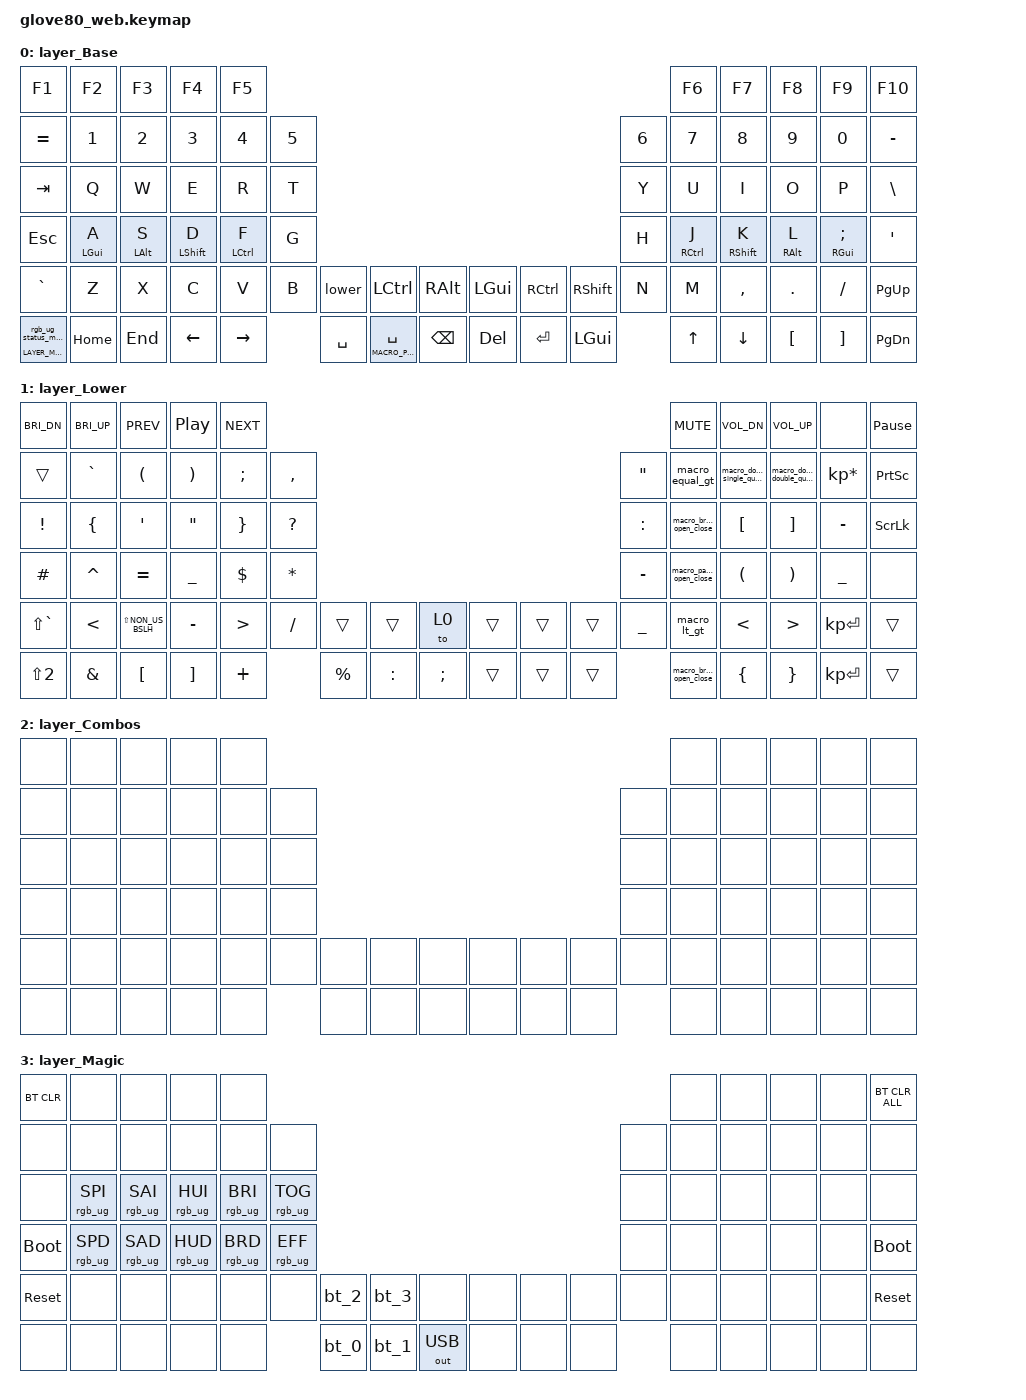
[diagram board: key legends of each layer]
/*
 * Copyright (c) 2020 The ZMK Contributors
 * Copyright (c) 2025 Innaworks Development Limited, trading as MoErgo
 *
 * SPDX-License-Identifier: MIT
 */


/* THIS FILE WAS GENERATED BY GLOVE80 LAYOUT EDITOR
 *
 * This file was generated automatically. You may or may not want to
 * edit it directly.
 */

#include <behaviors.dtsi>
/* Include all behavior includes needed */
#include <dt-bindings/zmk/outputs.h>
#include <dt-bindings/zmk/keys.h>
#include <dt-bindings/zmk/bt.h>
#include <dt-bindings/zmk/rgb.h>

/* On demand includes */


/* Helper Macros, based on https://github.com/urob/zmk-helpers/ */

#pragma once

#define ZMK_HELPER_STRINGIFY(x) #x

// Preprocessor mechanism to overload macros, cf. https://stackoverflow.com/a/27051616/6114651
#define VARGS_(_10, _9, _8, _7, _6, _5, _4, _3, _2, _1, N, ...) N
#define VARGS(...) VARGS_(__VA_ARGS__, 10, 9, 8, 7, 6, 5, 4, 3, 2, 1, 0)
#define CONCAT_(a, b) a##b
#define CONCAT(a, b) CONCAT_(a, b)

#define ZMK_BEHAVIOR_CORE_tap_dance  \
    compatible = "zmk,behavior-tap-dance"; \
    #binding-cells = <0>

#define ZMK_BEHAVIOR(name, type, ...) \
    name: name { \
        ZMK_BEHAVIOR_CORE_ ## type; \
        __VA_ARGS__ \
    };

#define ZMK_TAP_DANCE(name, ...) \
    ZMK_BEHAVIOR(name, tap_dance, __VA_ARGS__)

#define ZMK_TD_LAYER(name, layer) \
    ZMK_TAP_DANCE(name, \
        tapping-term-ms = <200>; \
        bindings = <&mo layer>, <&to layer>; \
)

/* Automatically generated layer name #define */
#define LAYER_Base 0
#define LAYER_Lower 1
#define LAYER_Combos 2
#define LAYER_Magic 3

/* To deal with the situation where there is no Lower layer, to keep &lower happy */
#ifndef LAYER_Lower
#define LAYER_Lower 0
#endif

/* Custom Device-tree */


/* Input Listeners */


/* System behavior and Macros */
/ {
    behaviors {
        ZMK_TD_LAYER(lower, LAYER_Lower)
    };
};

/ {
    macros {
        rgb_ug_status_macro: rgb_ug_status_macro {
            label = "RGB_UG_STATUS";
            compatible = "zmk,behavior-macro";
            #binding-cells = <0>;
            bindings
                = <&rgb_ug RGB_STATUS>;
        };
    };
};


/ {
#ifdef BT_DISC_CMD
    behaviors {
        bt_0: bt_0 {
            compatible = "zmk,behavior-tap-dance";
            label = "BT_0";
            #binding-cells = <0>;
            tapping-term-ms = <200>;
            bindings = <&bt_select_0>, <&bt BT_DISC 0>;
        };
        bt_1: bt_1 {
            compatible = "zmk,behavior-tap-dance";
            label = "BT_1";
            #binding-cells = <0>;
            tapping-term-ms = <200>;
            bindings = <&bt_select_1>, <&bt BT_DISC 1>;
        };
        bt_2: bt_2 {
            compatible = "zmk,behavior-tap-dance";
            label = "BT_2";
            #binding-cells = <0>;
            tapping-term-ms = <200>;
            bindings = <&bt_select_2>, <&bt BT_DISC 2>;
        };
        bt_3: bt_3 {
            compatible = "zmk,behavior-tap-dance";
            label = "BT_3";
            #binding-cells = <0>;
            tapping-term-ms = <200>;
            bindings = <&bt_select_3>, <&bt BT_DISC 3>;
        };
    };
    macros {
        bt_select_0: bt_select_0 {
            label = "BT_SELECT_0";
            compatible = "zmk,behavior-macro";
            #binding-cells = <0>;
            bindings
                = <&out OUT_BLE>,
                  <&bt BT_SEL 0>;
        };
        bt_select_1: bt_select_1 {
            label = "BT_SELECT_1";
            compatible = "zmk,behavior-macro";
            #binding-cells = <0>;
            bindings
                = <&out OUT_BLE>,
                  <&bt BT_SEL 1>;
        };
        bt_select_2: bt_select_2 {
            label = "BT_SELECT_2";
            compatible = "zmk,behavior-macro";
            #binding-cells = <0>;
            bindings
                = <&out OUT_BLE>,
                  <&bt BT_SEL 2>;
        };
        bt_select_3: bt_select_3 {
            label = "BT_SELECT_3";
            compatible = "zmk,behavior-macro";
            #binding-cells = <0>;
            bindings
                = <&out OUT_BLE>,
                  <&bt BT_SEL 3>;
        };
    };
#else
    macros {
        bt_0: bt_0 {
            label = "BT_0";
            compatible = "zmk,behavior-macro";
            #binding-cells = <0>;
            bindings
                = <&out OUT_BLE>,
                  <&bt BT_SEL 0>;
        };
        bt_1: bt_1 {
            label = "BT_1";
            compatible = "zmk,behavior-macro";
            #binding-cells = <0>;
            bindings
                = <&out OUT_BLE>,
                  <&bt BT_SEL 1>;
        };
        bt_2: bt_2 {
            label = "BT_2";
            compatible = "zmk,behavior-macro";
            #binding-cells = <0>;
            bindings
                = <&out OUT_BLE>,
                  <&bt BT_SEL 2>;
        };
        bt_3: bt_3 {
            label = "BT_3";
            compatible = "zmk,behavior-macro";
            #binding-cells = <0>;
            bindings
                = <&out OUT_BLE>,
                  <&bt BT_SEL 3>;
        };
    };
#endif
};

/ {
    behaviors {
        magic: magic {
            compatible = "zmk,behavior-hold-tap";
            label = "MAGIC_HOLD_TAP";
            #binding-cells = <2>;
            flavor = "tap-preferred";
            tapping-term-ms = <200>;
            bindings = <&mo>, <&rgb_ug_status_macro>;
        };
    };
};

/* #define for key positions */
#define POS_LH_T1 52
#define POS_LH_T2 53
#define POS_LH_T3 54
#define POS_LH_T4 69
#define POS_LH_T5 70
#define POS_LH_T6 71
#define POS_LH_C1R2 15
#define POS_LH_C1R3 27
#define POS_LH_C1R4 39
#define POS_LH_C1R5 51
#define POS_LH_C2R1 4
#define POS_LH_C2R2 14
#define POS_LH_C2R3 26
#define POS_LH_C2R4 38
#define POS_LH_C2R5 50
#define POS_LH_C2R6 68
#define POS_LH_C3R1 3
#define POS_LH_C3R2 13
#define POS_LH_C3R3 25
#define POS_LH_C3R4 37
#define POS_LH_C3R5 49
#define POS_LH_C3R6 67
#define POS_LH_C4R1 2
#define POS_LH_C4R2 12
#define POS_LH_C4R3 24
#define POS_LH_C4R4 36
#define POS_LH_C4R5 48
#define POS_LH_C4R6 66
#define POS_LH_C5R1 1
#define POS_LH_C5R2 11
#define POS_LH_C5R3 23
#define POS_LH_C5R4 35
#define POS_LH_C5R5 47
#define POS_LH_C5R6 65
#define POS_LH_C6R1 0
#define POS_LH_C6R2 10
#define POS_LH_C6R3 22
#define POS_LH_C6R4 34
#define POS_LH_C6R5 46
#define POS_LH_C6R6 64
#define POS_RH_T1 57
#define POS_RH_T2 56
#define POS_RH_T3 55
#define POS_RH_T4 74
#define POS_RH_T5 73
#define POS_RH_T6 72
#define POS_RH_C1R2 16
#define POS_RH_C1R3 28
#define POS_RH_C1R4 40
#define POS_RH_C1R5 58
#define POS_RH_C2R1 5
#define POS_RH_C2R2 17
#define POS_RH_C2R3 29
#define POS_RH_C2R4 41
#define POS_RH_C2R5 59
#define POS_RH_C2R6 75
#define POS_RH_C3R1 6
#define POS_RH_C3R2 18
#define POS_RH_C3R3 30
#define POS_RH_C3R4 42
#define POS_RH_C3R5 60
#define POS_RH_C3R6 76
#define POS_RH_C4R1 7
#define POS_RH_C4R2 19
#define POS_RH_C4R3 31
#define POS_RH_C4R4 43
#define POS_RH_C4R5 61
#define POS_RH_C4R6 77
#define POS_RH_C5R1 8
#define POS_RH_C5R2 20
#define POS_RH_C5R3 32
#define POS_RH_C5R4 44
#define POS_RH_C5R5 62
#define POS_RH_C5R6 78
#define POS_RH_C6R1 9
#define POS_RH_C6R2 21
#define POS_RH_C6R3 33
#define POS_RH_C6R4 45
#define POS_RH_C6R5 63
#define POS_RH_C6R6 79

/* Custom Defined Behaviors */
/ {

};

/* Automatically generated macro definitions */
/ {
    macros {

        macro_parenthesis_open_close: macro_parenthesis_open_close {
            label = "&MACRO_PARENTHESIS_OPEN_CLOSE";
            compatible = "zmk,behavior-macro";
            #binding-cells = <0>;
            bindings = <&macro_tap>
                , <&kp LPAR>
                , <&kp RPAR>
                , <&kp LEFT>;
        };

        macro_brace_open_close: macro_brace_open_close {
            label = "&MACRO_BRACE_OPEN_CLOSE";
            compatible = "zmk,behavior-macro";
            #binding-cells = <0>;
            bindings = <&macro_tap>
                , <&kp LBRC>
                , <&kp RBRC>
                , <&kp LEFT>;
        };

        macro_bracket_open_close: macro_bracket_open_close {
            label = "&MACRO_BRACKET_OPEN_CLOSE";
            compatible = "zmk,behavior-macro";
            #binding-cells = <0>;
            bindings = <&macro_tap>
                , <&kp LBKT>
                , <&kp RBKT>
                , <&kp LEFT>;
        };

        macro_lt_gt: macro_lt_gt {
            label = "&MACRO_LT_GT";
            compatible = "zmk,behavior-macro";
            #binding-cells = <0>;
            bindings = <&macro_tap>
                , <&kp LT>
                , <&kp GT>
                , <&kp LEFT>;
        };

        macro_super_alt_b: macro_super_alt_b {
            label = "&MACRO_SUPER_ALT_B";
            compatible = "zmk,behavior-macro";
            #binding-cells = <0>;
            bindings = <&macro_press>
                , <&kp LGUI>
                , <&kp LALT>
                , <&macro_press>
                , <&kp B>
                , <&macro_release>
                , <&kp LGUI>
                , <&kp LALT>;
        };

        macro_equal_gt: macro_equal_gt {
            label = "&MACRO_EQUAL_GT";
            compatible = "zmk,behavior-macro";
            #binding-cells = <0>;
            bindings = <&macro_tap>
                , <&kp EQUAL>
                , <&kp GT>;
        };

        macro_double_single_quotes: macro_double_single_quotes {
            label = "&MACRO_DOUBLE_SINGLE_QUOTES";
            compatible = "zmk,behavior-macro";
            #binding-cells = <0>;
            bindings = <&macro_tap>
                , <&kp SQT>
                , <&kp SQT>
                , <&kp LEFT>;
        };

        macro_double_double_quotes: macro_double_double_quotes {
            label = "&MACRO_DOUBLE_DOUBLE_QUOTES";
            compatible = "zmk,behavior-macro";
            #binding-cells = <0>;
            bindings = <&macro_tap>
                , <&kp DQT>
                , <&kp DQT>
                , <&kp LEFT>;
        };
    };
};

/* Automatically generated behavior definitions */
/ {
    behaviors {


        hmk_left_pinky: hmk_left_pinky {
            compatible = "zmk,behavior-hold-tap";
            #binding-cells = <2>;
            tapping-term-ms = <260>;
            bindings = <&kp>, <&kp>;
            flavor = "balanced";
            quick-tap-ms = <300>;
            require-prior-idle-ms = <150>;
            hold-while-undecided;
            hold-trigger-key-positions = <52 53 54 69 70 71 55 56 57 74 72 73 58 40 28 16 5 6 7 19 18 17 29 41 59 75 76 77 61 60 42 43 31 30 8 9 21 20 32 44 62 78 79 63 45 33>;
            hold-trigger-on-release;
        };

        hmk_right_pinky: hmk_right_pinky {
            compatible = "zmk,behavior-hold-tap";
            #binding-cells = <2>;
            tapping-term-ms = <260>;
            bindings = <&kp>, <&kp>;
            flavor = "balanced";
            quick-tap-ms = <300>;
            require-prior-idle-ms = <150>;
            hold-while-undecided;
            hold-trigger-key-positions = <54 53 52 69 70 71 68 67 66 65 64 47 46 34 22 1 10 0 2 3 4 15 27 39 51 50 48 49 35 11 12 14 38 37 36 23 24 25 26 13>;
            hold-trigger-on-release;
        };

        hmk_right_ring: hmk_right_ring {
            compatible = "zmk,behavior-hold-tap";
            #binding-cells = <2>;
            tapping-term-ms = <260>;
            bindings = <&kp>, <&kp>;
            flavor = "balanced";
            quick-tap-ms = <300>;
            require-prior-idle-ms = <150>;
            hold-while-undecided;
            hold-trigger-key-positions = <54 53 52 69 70 71 68 67 66 65 64 47 46 34 22 1 10 0 2 3 4 15 27 39 51 50 48 49 35 11 12 14 38 37 36 23 24 25 26 13>;
        };

        hmk_left_ring: hmk_left_ring {
            compatible = "zmk,behavior-hold-tap";
            #binding-cells = <2>;
            tapping-term-ms = <260>;
            bindings = <&kp>, <&kp>;
            flavor = "balanced";
            quick-tap-ms = <300>;
            require-prior-idle-ms = <150>;
            hold-while-undecided;
            hold-trigger-key-positions = <52 53 54 69 70 71 55 56 57 74 72 73 58 40 28 16 5 6 7 19 18 17 29 41 59 75 76 77 61 60 42 43 31 30 8 9 21 20 32 44 62 78 79 63 45 33>;
        };

        hmk_left_middle: hmk_left_middle {
            compatible = "zmk,behavior-hold-tap";
            #binding-cells = <2>;
            tapping-term-ms = <260>;
            bindings = <&kp>, <&kp>;
            flavor = "balanced";
            quick-tap-ms = <300>;
            require-prior-idle-ms = <150>;
            hold-while-undecided;
            hold-trigger-key-positions = <52 53 54 69 70 71 55 56 57 74 72 73 58 40 28 16 5 6 7 19 18 17 29 41 59 75 76 77 61 60 42 43 31 30 8 9 21 20 32 44 62 78 79 63 45 33>;
        };

        hmk_right_middle: hmk_right_middle {
            compatible = "zmk,behavior-hold-tap";
            #binding-cells = <2>;
            tapping-term-ms = <260>;
            bindings = <&kp>, <&kp>;
            flavor = "balanced";
            quick-tap-ms = <300>;
            require-prior-idle-ms = <150>;
            hold-while-undecided;
            hold-trigger-key-positions = <54 53 52 69 70 71 68 67 66 65 64 47 46 34 22 1 10 0 2 3 4 15 27 39 51 50 48 49 35 11 12 14 38 37 36 23 24 25 26 13>;
        };

        hmk_right_index: hmk_right_index {
            compatible = "zmk,behavior-hold-tap";
            #binding-cells = <2>;
            tapping-term-ms = <260>;
            bindings = <&kp>, <&kp>;
            flavor = "balanced";
            quick-tap-ms = <300>;
            require-prior-idle-ms = <150>;
            hold-while-undecided;
            hold-trigger-key-positions = <54 53 52 69 70 71 68 67 66 65 64 47 46 34 22 1 10 0 2 3 4 15 27 39 51 50 48 49 35 11 12 14 38 37 36 23 24 25 26 13>;
        };

        hmk_left_index: hmk_left_index {
            compatible = "zmk,behavior-hold-tap";
            #binding-cells = <2>;
            tapping-term-ms = <260>;
            bindings = <&kp>, <&kp>;
            flavor = "balanced";
            quick-tap-ms = <300>;
            require-prior-idle-ms = <150>;
            hold-while-undecided;
            hold-trigger-key-positions = <52 53 54 69 70 71 55 56 57 74 72 73 58 40 28 16 5 6 7 19 18 17 29 41 59 75 76 77 61 60 42 43 31 30 8 9 21 20 32 44 62 78 79 63 45 33>;
        };

        hmk_left_thumb_middle_inner: hmk_left_thumb_middle_inner {
            compatible = "zmk,behavior-hold-tap";
            #binding-cells = <2>;
            tapping-term-ms = <260>;
            bindings = <&lower>, <&kp>;
            flavor = "balanced";
            quick-tap-ms = <300>;
            require-prior-idle-ms = <150>;
            hold-while-undecided;
            hold-trigger-key-positions = <58 40 28 16 5 6 7 19 18 17 29 41 59 75 76 77 61 60 42 43 31 30 8 9 21 20 32 44 62 78 79 63 45 33 4 3 2 1 0 22 34 46 10 11 23 47 65 64 66 67 68 50 51 39 27 15 14 26 38 49 35 48 36 37 25 24 12 13>;
        };
    };
};

/* Automatically generated combos definitions */


/* Automatically generated keymap */
/ {
    keymap {
        compatible = "zmk,keymap";


        layer_Base {
            bindings = <
               &kp F1                  &kp F2                 &kp F3                    &kp F4                   &kp F5                                                                                                                                               &kp F6                     &kp F7                  &kp F8                      &kp F9    &kp F10
            &kp EQUAL                  &kp N1                 &kp N2                    &kp N3                   &kp N4  &kp N5                                                                                                             &kp N6                    &kp N7                     &kp N8                  &kp N9                      &kp N0  &kp MINUS
              &kp TAB                   &kp Q                  &kp W                     &kp E                    &kp R   &kp T                                                                                                              &kp Y                     &kp U                      &kp I                   &kp O                       &kp P   &kp BSLH
              &kp ESC  &hmk_left_pinky LGUI A  &hmk_left_ring LALT S  &hmk_left_middle LSHFT D  &hmk_left_index LCTRL F   &kp G                                                                                                              &kp H  &hmk_right_index RCTRL J  &hmk_right_middle RSHFT K  &hmk_right_ring RALT L  &hmk_right_pinky RGUI SEMI    &kp SQT
            &kp GRAVE                   &kp Z                  &kp X                     &kp C                    &kp V   &kp B     &lower                                             &kp LCTRL  &kp RALT  &kp LGUI  &kp RCTRL  &kp RSHFT   &kp N                     &kp M                  &kp COMMA                 &kp DOT                    &kp FSLH  &kp PG_UP
 &magic LAYER_Magic 0                &kp HOME                &kp END                  &kp LEFT                &kp RIGHT          &kp SPACE  &hmk_left_thumb_middle_inner MACRO_PLACEHOLDER SPACE  &kp BSPC   &kp DEL    &kp RET   &kp LGUI                            &kp UP                   &kp DOWN                &kp LBKT                    &kp RBKT  &kp PG_DN
            >;
        };

        layer_Lower {
            bindings = <
  &kp C_BRI_DN  &kp C_BRI_UP           &kp C_PREV   &kp C_PP  &kp C_NEXT                                                                                                   &kp C_MUTE                 &kp C_VOL_DN                 &kp C_VOL_UP            &none  &kp PAUSE_BREAK
        &trans     &kp GRAVE             &kp LPAR   &kp RPAR    &kp SEMI  &kp COMMA                                                            &kp DQT                &macro_equal_gt  &macro_double_single_quotes  &macro_double_double_quotes  &kp KP_MULTIPLY  &kp PRINTSCREEN
      &kp EXCL      &kp LBRC              &kp SQT    &kp DQT    &kp RBRC  &kp QMARK                                                          &kp COLON      &macro_bracket_open_close                     &kp LBKT                     &kp RBKT        &kp MINUS   &kp SCROLLLOCK
      &kp HASH     &kp CARET            &kp EQUAL  &kp UNDER    &kp DLLR   &kp STAR                                                          &kp MINUS  &macro_parenthesis_open_close                     &kp LPAR                     &kp RPAR        &kp UNDER            &none
 &kp LS(GRAVE)        &kp LT  &kp LS(NON_US_BSLH)  &kp MINUS      &kp GT   &kp FSLH     &trans     &trans     &to 0  &trans  &trans  &trans  &kp UNDER                   &macro_lt_gt                       &kp LT                       &kp GT     &kp KP_ENTER           &trans
    &kp LS(N2)      &kp AMPS             &kp LBKT   &kp RBKT    &kp PLUS             &kp PRCNT  &kp COLON  &kp SEMI  &trans  &trans  &trans                   &macro_brace_open_close                     &kp LBRC                     &kp RBRC     &kp KP_ENTER           &trans
            >;
        };

        layer_Combos {
            bindings = <
  &none   &none   &none   &none   &none                                                                   &none   &none   &none   &none   &none
  &none   &none   &none   &none   &none   &none                                                   &none   &none   &none   &none   &none   &none
  &none   &none   &none   &none   &none   &none                                                   &none   &none   &none   &none   &none   &none
  &none   &none   &none   &none   &none   &none                                                   &none   &none   &none   &none   &none   &none
  &none   &none   &none   &none   &none   &none   &none   &none   &none   &none   &none   &none   &none   &none   &none   &none   &none   &none
  &none   &none   &none   &none   &none           &none   &none   &none   &none   &none   &none           &none   &none   &none   &none   &none
            >;
        };

        layer_Magic {
            bindings = <
  &bt BT_CLR            &none            &none            &none            &none                                                                                  &none   &none   &none   &none  &bt BT_CLR_ALL
       &none            &none            &none            &none            &none            &none                                                         &none   &none   &none   &none   &none           &none
       &none  &rgb_ug RGB_SPI  &rgb_ug RGB_SAI  &rgb_ug RGB_HUI  &rgb_ug RGB_BRI  &rgb_ug RGB_TOG                                                         &none   &none   &none   &none   &none           &none
 &bootloader  &rgb_ug RGB_SPD  &rgb_ug RGB_SAD  &rgb_ug RGB_HUD  &rgb_ug RGB_BRD  &rgb_ug RGB_EFF                                                         &none   &none   &none   &none   &none     &bootloader
  &sys_reset            &none            &none            &none            &none            &none   &bt_2   &bt_3         &none   &none   &none   &none   &none   &none   &none   &none   &none      &sys_reset
       &none            &none            &none            &none            &none                    &bt_0   &bt_1  &out OUT_USB   &none   &none   &none           &none   &none   &none   &none           &none
            >;
        };

    };
};
